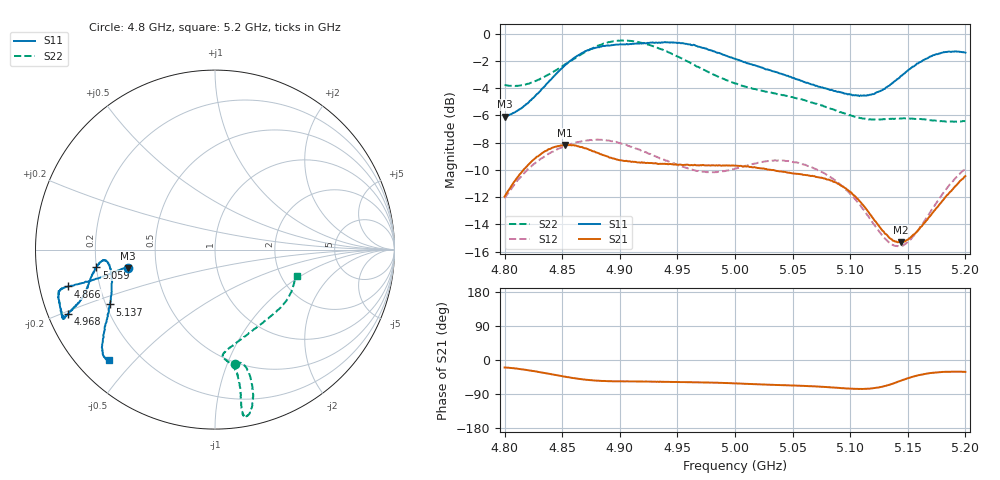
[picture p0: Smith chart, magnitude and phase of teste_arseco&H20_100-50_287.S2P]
! Network Analyzer HP8722D
! Hewlett-Packard
! Data name: Linha & Wilkinson
! Saver's name: Rodrigo Anjos
! Comments: Teste da utilização de aquisição
! continua pelo VNA HP8722D
! Time and date: 6/5/2025 14:57
!  Frequency  S11  S21  S12  S22
# HZ  S  MA R 50
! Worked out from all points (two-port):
!   401 points, 4.8 GHz to 5.2 GHz, reference 50 ohm
!   highest |S21| = -8.17 dB at 4.852 GHz (marker M1); lowest = -15.3 dB at 5.144 GHz (marker M2)
!   |S21| within 3 dB of the highest: 4.806 GHz to 5.092 GHz (286.1 MHz wide, 5.78 % of centre); 5.191702 GHz to end of sweep
!   lowest |S11| = -6.1 dB at 4.8 GHz (marker M3), VSWR 2.97, Z = 17 - j4.6 ohm
!   |S11| at or under -10 dB: nowhere
!   |S22| runs from -6.5 to -0.5 dB; largest |S21 - S12| = 0.62
!   S11 on the Smith chart (normalised r, x): 4.8 GHz: 0.34, -0.09; 4.866 GHz: 0.09, -0.12; 4.968 GHz: 0.06, -0.21; 5.059 GHz: 0.20, -0.07; 5.137 GHz: 0.22, -0.23; 5.2 GHz: 0.09, -0.43
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4.8e9  0.4966 -168.1  0.2524 -19.6  0.2486 -140.9  0.6481 -80.2
4.826e9  0.5873 -167.3  0.3477 -29.7  0.3335 -144.6  0.6686 -75.7
4.852e9  0.7637 -165.9  0.3906 -43.7  0.3856 -149.4  0.7685 -74.6
4.866e9  0.8446 -165.9  0.3835 -50.3  0.402 -151.9  0.8366 -75.2
4.867e9  0.8489 -165.8  0.3838 -50.9  0.4026 -152.0  0.8422 -75.4
4.883e9  0.8965 -165.1  0.3611 -55.1  0.4081 -154.7  0.9094 -77.2
4.9e9  0.914 -162.6  0.3433 -56.3  0.3964 -156.5  0.9425 -79.1
4.934e9  0.9293 -156.5  0.3327 -57.6  0.3504 -155.7  0.8828 -80.5
4.968e9  0.8965 -156.3  0.3287 -59.0  0.3136 -147.5  0.756 -79.7
5e9  0.8094 -159.0  0.3279 -61.8  0.3199 -137.2  0.6569 -81.4
5.035e9  0.7253 -165.4  0.3144 -65.9  0.3432 -134.3  0.6036 -85.6
5.059e9  0.6679 -171.4  0.3031 -68.3  0.3316 -136.0  0.5722 -84.4
5.067e9  0.6505 -173.2  0.3008 -69.2  0.3229 -136.7  0.5592 -82.8
5.087e9  0.6163 -174.5  0.2848 -73.0  0.2893 -138.5  0.5236 -74.9
5.101e9  0.5984 -172.1  0.2608 -75.8  0.2557 -138.8  0.5003 -66.5
5.116e9  0.5948 -165.6  0.221 -76.0  0.2129 -135.5  0.4846 -55.7
5.134e9  0.6447 -154.3  0.178 -65.3  0.1707 -120.7  0.4867 -43.3
5.137e9  0.661 -152.5  0.1738 -62.3  0.1677 -116.8  0.4877 -41.5
5.144e9  0.7002 -148.8  0.1713 -54.5  0.1661 -107.6  0.4886 -37.4
5.154e9  0.7565 -144.4  0.1813 -44.4  0.1793 -95.1  0.4877 -32.3
5.173e9  0.8354 -138.8  0.2239 -33.2  0.2329 -80.7  0.4807 -24.3
5.2e9  0.8524 -133.6  0.3001 -31.4  0.3188 -76.8  0.4774 -17.6
